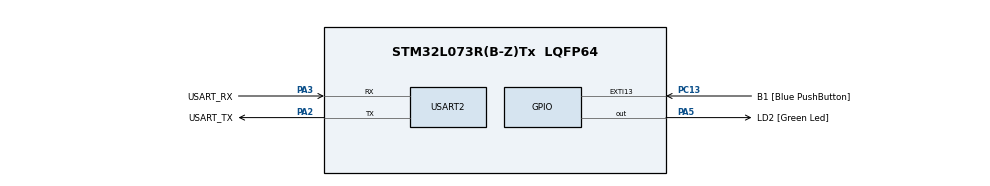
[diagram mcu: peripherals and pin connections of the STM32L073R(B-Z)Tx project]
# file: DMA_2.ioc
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Mcu.Family=STM32L0
Mcu.Name=STM32L073R(B-Z)Tx
Mcu.Package=LQFP64
NVIC.USART2_IRQn=true\:0\:0\:false\:false\:true\:true\:true\:true
PA13.GPIO_Label=TMS
PA13.Mode=Serial_Wire
PA13.Signal=SYS_SWDIO
PA14.GPIO_Label=TCK
PA14.Mode=Serial_Wire
PA14.Signal=SYS_SWCLK
PA2.GPIO_Label=USART_TX
PA2.Mode=Asynchronous
PA2.Signal=USART2_TX
PA3.GPIO_Label=USART_RX
PA3.Mode=Asynchronous
PA3.Signal=USART2_RX
PA5.GPIO_Label=LD2 [Green Led]
PA5.Signal=GPIO_Output
PC13.GPIO_Label=B1 [Blue PushButton]
PC13.GPIO_ModeDefaultEXTI=GPIO_MODE_IT_FALLING
PC13.Signal=GPXTI13
PC14-OSC32_IN.Mode=LSE-External-Oscillator
PC14-OSC32_IN.Signal=RCC_OSC32_IN
PC15-OSC32_OUT.Mode=LSE-External-Oscillator
PC15-OSC32_OUT.Signal=RCC_OSC32_OUT
PH0-OSC_IN.GPIO_Label=MCO
PH0-OSC_IN.Mode=HSE-External-Clock-Source
PH0-OSC_IN.Signal=RCC_OSC_IN
ProjectManager.HeapSize=0x200
ProjectManager.StackSize=0x400
ProjectManager.TargetToolchain=STM32CubeIDE
RCC.AHBFreq_Value=2097000
RCC.APB1Freq_Value=2097000
RCC.APB1TimFreq_Value=2097000
RCC.APB2Freq_Value=2097000
RCC.APB2TimFreq_Value=2097000
RCC.HSE_VALUE=8000000
RCC.HSI16_VALUE=16000000
RCC.HSI48_VALUE=48000000
RCC.HSI_VALUE=16000000
RCC.MSI_VALUE=2097000
RCC.SYSCLKFreq_VALUE=2097000
RCC.VCOOutputFreq_Value=48000000
USART2.VirtualMode-Asynchronous=VM_ASYNC
board=NUCLEO-L073RZ

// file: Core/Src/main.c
/* USER CODE BEGIN Header */
/**
  ******************************************************************************
  * @file           : main.c
  * @brief          : Main program body
  ******************************************************************************
  * @attention
  *
  * Copyright (c) 2024 STMicroelectronics.
  * All rights reserved.
  *
  * This software is licensed under terms that can be found in the LICENSE file
  * in the root directory of this software component.
  * If no LICENSE file comes with this software, it is provided AS-IS.
  *
  ******************************************************************************
  */
/* USER CODE END Header */
#include "main.h"

UART_HandleTypeDef huart2;
DMA_HandleTypeDef hdma_usart2_tx;

void SystemClock_Config(void);
static void MX_GPIO_Init(void);
static void MX_DMA_Init(void);
static void MX_USART2_UART_Init(void);

/* USER CODE BEGIN 0 */
uint8_t TxData[10240]; //array of 10KB

int countLoop = 0;
int countInterrupt = 0;
int isSent = 1;//keep track of data being transferred
void HAL_UART_TxCpltCallback(UART_HandleTypeDef *huart)
{
	isSent = 1;
	//inform the CPU that the data has been transmitted.
	countInterrupt++;
}
/* USER CODE END 0 */

int main(void)
{

  /* MCU Configuration--------------------------------------------------------*/

  /* Reset of all peripherals, Initializes the Flash interface and the Systick. */
  HAL_Init();

  /* Configure the system clock */
  SystemClock_Config();

  /* Initialize all configured peripherals */
  MX_GPIO_Init();
  MX_DMA_Init();
  MX_USART2_UART_Init();
  /* USER CODE BEGIN 2 */
  for (uint32_t i=0; i<10240; i++)
  {
	  TxData [i] = i&(0xff);
  }
  /* USER CODE END 2 */

  /* Infinite loop */
  while (1)
  {

    /* USER CODE BEGIN 3 */
	if (isSent == 1)
	{
		HAL_UART_Transmit_IT(&huart2, TxData, 10240);
		//HAL_MAX_DELAY means the function will never time out
		isSent = 0;
	}
	HAL_GPIO_TogglePin(GPIOA, GPIO_PIN_5);
	HAL_Delay(500);
	countLoop++;
	//sending data in the interrupt mode
	//the data is transferred in the background,
	//while the CPU can process the rest of the tasks.
	//When all the data has been transferred,
	//an interrupt will trigger, and the transfer complete callback is called.
	//inside the callback, we can do the rest of the processing.
	//LED blinks every 500ms
	//It takes around 1 second to transfer 10 KB of data
	//countInterrupt(Interrupt counter) is half of the while loop (countLoop)
	//
	//If the blink delay is 1 sec, both counters increment at the same time
	//LED blinks every one second
	//data transfer does not take the 1 sec delay into account, it just takes 1 sec to transfer data
	//data is transferred in the background
	//while the CPU waits for the 1 sec delay the data is transferred
  }
  /* USER CODE END 3 */
}

void SystemClock_Config(void)
{
  RCC_OscInitTypeDef RCC_OscInitStruct = {0};
  RCC_ClkInitTypeDef RCC_ClkInitStruct = {0};
  RCC_PeriphCLKInitTypeDef PeriphClkInit = {0};

  /** Configure the main internal regulator output voltage
  */
  __HAL_PWR_VOLTAGESCALING_CONFIG(PWR_REGULATOR_VOLTAGE_SCALE1);

  /** Initializes the RCC Oscillators according to the specified parameters
  * in the RCC_OscInitTypeDef structure.
  */
  RCC_OscInitStruct.OscillatorType = RCC_OSCILLATORTYPE_HSE;
  RCC_OscInitStruct.HSEState = RCC_HSE_BYPASS;
  RCC_OscInitStruct.PLL.PLLState = RCC_PLL_NONE;
  if (HAL_RCC_OscConfig(&RCC_OscInitStruct) != HAL_OK)
  {
    Error_Handler();
  }

  /** Initializes the CPU, AHB and APB buses clocks
  */
  RCC_ClkInitStruct.ClockType = RCC_CLOCKTYPE_HCLK|RCC_CLOCKTYPE_SYSCLK
                              |RCC_CLOCKTYPE_PCLK1|RCC_CLOCKTYPE_PCLK2;
  RCC_ClkInitStruct.SYSCLKSource = RCC_SYSCLKSOURCE_HSE;
  RCC_ClkInitStruct.AHBCLKDivider = RCC_SYSCLK_DIV1;
  RCC_ClkInitStruct.APB1CLKDivider = RCC_HCLK_DIV1;
  RCC_ClkInitStruct.APB2CLKDivider = RCC_HCLK_DIV1;

  if (HAL_RCC_ClockConfig(&RCC_ClkInitStruct, FLASH_LATENCY_0) != HAL_OK)
  {
    Error_Handler();
  }
  PeriphClkInit.PeriphClockSelection = RCC_PERIPHCLK_USART2;
  PeriphClkInit.Usart2ClockSelection = RCC_USART2CLKSOURCE_PCLK1;
  if (HAL_RCCEx_PeriphCLKConfig(&PeriphClkInit) != HAL_OK)
  {
    Error_Handler();
  }
}

static void MX_USART2_UART_Init(void)
{

  huart2.Instance = USART2;
  huart2.Init.BaudRate = 115200;
  huart2.Init.WordLength = UART_WORDLENGTH_8B;
  huart2.Init.StopBits = UART_STOPBITS_1;
  huart2.Init.Parity = UART_PARITY_NONE;
  huart2.Init.Mode = UART_MODE_TX_RX;
  huart2.Init.HwFlowCtl = UART_HWCONTROL_NONE;
  huart2.Init.OverSampling = UART_OVERSAMPLING_16;
  huart2.Init.OneBitSampling = UART_ONE_BIT_SAMPLE_DISABLE;
  huart2.AdvancedInit.AdvFeatureInit = UART_ADVFEATURE_NO_INIT;
  if (HAL_UART_Init(&huart2) != HAL_OK)
  {
    Error_Handler();
  }

}

static void MX_DMA_Init(void)
{

  /* DMA controller clock enable */
  __HAL_RCC_DMA1_CLK_ENABLE();

  /* DMA interrupt init */
  /* DMA1_Channel4_5_6_7_IRQn interrupt configuration */
  HAL_NVIC_SetPriority(DMA1_Channel4_5_6_7_IRQn, 0, 0);
  HAL_NVIC_EnableIRQ(DMA1_Channel4_5_6_7_IRQn);

}

static void MX_GPIO_Init(void)
{
  GPIO_InitTypeDef GPIO_InitStruct = {0};

  /* GPIO Ports Clock Enable */
  __HAL_RCC_GPIOC_CLK_ENABLE();
  __HAL_RCC_GPIOH_CLK_ENABLE();
  __HAL_RCC_GPIOA_CLK_ENABLE();

  /*Configure GPIO pin Output Level */
  HAL_GPIO_WritePin(LD2_GPIO_Port, LD2_Pin, GPIO_PIN_RESET);

  /*Configure GPIO pin : B1_Pin */
  GPIO_InitStruct.Pin = B1_Pin;
  GPIO_InitStruct.Mode = GPIO_MODE_IT_FALLING;
  GPIO_InitStruct.Pull = GPIO_NOPULL;
  HAL_GPIO_Init(B1_GPIO_Port, &GPIO_InitStruct);

  /*Configure GPIO pin : LD2_Pin */
  GPIO_InitStruct.Pin = LD2_Pin;
  GPIO_InitStruct.Mode = GPIO_MODE_OUTPUT_PP;
  GPIO_InitStruct.Pull = GPIO_NOPULL;
  GPIO_InitStruct.Speed = GPIO_SPEED_FREQ_LOW;
  HAL_GPIO_Init(LD2_GPIO_Port, &GPIO_InitStruct);

}

void Error_Handler(void)
{
  __disable_irq();
  while (1)
  {
  }
}
